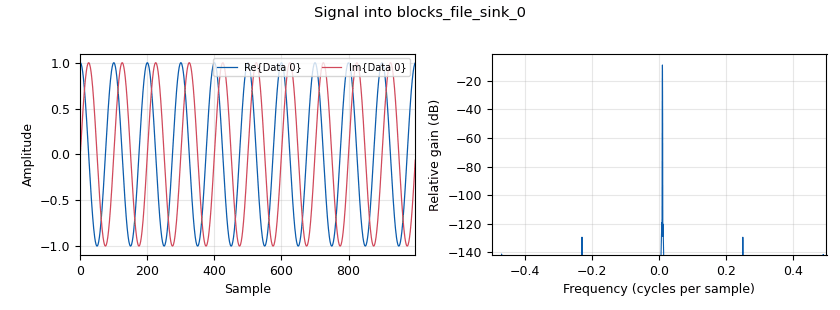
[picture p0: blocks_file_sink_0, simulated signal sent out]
options:
  parameters:
    author: yango
    generate_options: qt_gui
    id: fileBlock
    output_language: python
    title: Not titled yet
  states: {}

blocks:
- name: filename
  id: variable
  parameters:
    value: '''/home/yango/Documents/project/gnu-prj/sample_'' + samp_rate_string +  ''Hz_''  + timestamp + ''.dat'''
  states: {}
- name: samp_rate
  id: variable
  parameters:
    value: 100*10**3
  states: {}
- name: samp_rate_string
  id: variable
  parameters:
    value: str(samp_rate)
  states: {}
- name: timestamp
  id: variable
  parameters:
    value: str(int(time()))
  states: {}
- name: analog_sig_source_x_0
  id: analog_sig_source_x
  parameters:
    amp: '1'
    freq: '1000'
    offset: '0'
    phase: '0'
    samp_rate: samp_rate
    type: complex
    waveform: analog.GR_COS_WAVE
  states: {}
- name: blocks_file_sink_0
  id: blocks_file_sink
  parameters:
    file: /home/yango/Documents/project/gnu-prj/samples.dat
    type: complex
  states: {}
- name: import_0
  id: import
  parameters:
    imports: from time import time
  states: {}

connections:
- [analog_sig_source_x_0, '0', blocks_file_sink_0, '0']

metadata:
  file_format: 1
  grc_version: 3.10.7.0
